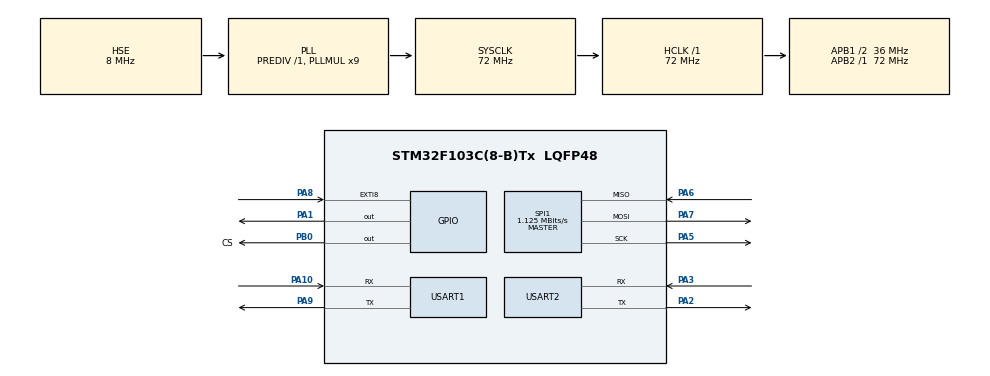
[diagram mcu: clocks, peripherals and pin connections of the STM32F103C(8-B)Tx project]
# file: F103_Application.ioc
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Dma.Request0=USART2_RX
Dma.USART2_RX.0.Direction=DMA_PERIPH_TO_MEMORY
Dma.USART2_RX.0.Instance=DMA1_Channel6
Dma.USART2_RX.0.MemDataAlignment=DMA_MDATAALIGN_BYTE
Dma.USART2_RX.0.MemInc=DMA_MINC_ENABLE
Dma.USART2_RX.0.Mode=DMA_CIRCULAR
Dma.USART2_RX.0.PeriphDataAlignment=DMA_PDATAALIGN_BYTE
Dma.USART2_RX.0.PeriphInc=DMA_PINC_DISABLE
Dma.USART2_RX.0.Priority=DMA_PRIORITY_LOW
Mcu.Family=STM32F1
Mcu.Name=STM32F103C(8-B)Tx
Mcu.Package=LQFP48
NVIC.DMA1_Channel6_IRQn=true\:0\:0\:false\:false\:true\:false\:true\:true
NVIC.EXTI9_5_IRQn=true\:0\:0\:false\:false\:true\:true\:true\:true
NVIC.PriorityGroup=NVIC_PRIORITYGROUP_4
PA1.Signal=GPIO_Output
PA10.Mode=Asynchronous
PA10.Signal=USART1_RX
PA13.Mode=Serial_Wire
PA13.Signal=SYS_JTMS-SWDIO
PA14.Mode=Serial_Wire
PA14.Signal=SYS_JTCK-SWCLK
PA2.Mode=Asynchronous
PA2.Signal=USART2_TX
PA3.Mode=Asynchronous
PA3.Signal=USART2_RX
PA5.Mode=Full_Duplex_Master
PA5.Signal=SPI1_SCK
PA6.Mode=Full_Duplex_Master
PA6.Signal=SPI1_MISO
PA7.Mode=Full_Duplex_Master
PA7.Signal=SPI1_MOSI
PA8.GPIO_ModeDefaultEXTI=GPIO_MODE_IT_FALLING
PA8.GPIO_PuPd=GPIO_PULLUP
PA8.Signal=GPXTI8
PA9.Mode=Asynchronous
PA9.Signal=USART1_TX
PB0.GPIO_Label=CS
PB0.GPIO_Speed=GPIO_SPEED_FREQ_HIGH
PB0.PinState=GPIO_PIN_SET
PB0.Signal=GPIO_Output
PD0-OSC_IN.Mode=HSE-External-Oscillator
PD0-OSC_IN.Signal=RCC_OSC_IN
PD1-OSC_OUT.Mode=HSE-External-Oscillator
PD1-OSC_OUT.Signal=RCC_OSC_OUT
ProjectManager.HeapSize=0x200
ProjectManager.StackSize=0x400
ProjectManager.TargetToolchain=STM32CubeIDE
RCC.AHBFreq_Value=72000000
RCC.APB1CLKDivider=RCC_HCLK_DIV2
RCC.APB1Freq_Value=36000000
RCC.APB1TimFreq_Value=72000000
RCC.APB2Freq_Value=72000000
RCC.APB2TimFreq_Value=72000000
RCC.HCLKFreq_Value=72000000
RCC.PLLMUL=RCC_PLL_MUL9
RCC.PLLSourceVirtual=RCC_PLLSOURCE_HSE
RCC.SYSCLKFreq_VALUE=72000000
RCC.SYSCLKSource=RCC_SYSCLKSOURCE_PLLCLK
RCC.USBFreq_Value=72000000
SPI1.BaudRatePrescaler=SPI_BAUDRATEPRESCALER_64
SPI1.CalculateBaudRate=1.125 MBits/s
SPI1.Direction=SPI_DIRECTION_2LINES
SPI1.Mode=SPI_MODE_MASTER
SPI1.VirtualType=VM_MASTER
USART1.VirtualMode=VM_ASYNC
USART2.VirtualMode=VM_ASYNC
board=custom

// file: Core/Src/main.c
/* USER CODE BEGIN Header */
/**
  ******************************************************************************
  * @file           : main.c
  * @brief          : Main program body
  ******************************************************************************
  * @attention
  *
  * Copyright (c) 2026 STMicroelectronics.
  * All rights reserved.
  *
  * This software is licensed under terms that can be found in the LICENSE file
  * in the root directory of this software component.
  * If no LICENSE file comes with this software, it is provided AS-IS.
  *
  ******************************************************************************
  */
/* USER CODE END Header */
#include "main.h"

/* USER CODE BEGIN Includes */
#include "flash_layout.h"
#include "app_header.h"
#include "ESP8266_STM32.h"
/* USER CODE END Includes */

SPI_HandleTypeDef hspi1;

UART_HandleTypeDef huart1;
UART_HandleTypeDef huart2;
DMA_HandleTypeDef hdma_usart2_rx;

void SystemClock_Config(void);
static void MX_GPIO_Init(void);
static void MX_DMA_Init(void);
static void MX_USART1_UART_Init(void);
static void MX_SPI1_Init(void);
static void MX_USART2_UART_Init(void);

/* USER CODE BEGIN 0 */

extern volatile uint8_t ota_active;
uint8_t ota_begin = 0;

void HAL_GPIO_EXTI_Callback(uint16_t GPIO_Pin)
{
	ota_begin = 1;
}

int __io_putchar (int ch)
{
	HAL_UART_Transmit(&huart1, (uint8_t *)&ch, 1, 10);
	return ch;
}

/* USER CODE END 0 */

int main(void)
{

  /* MCU Configuration--------------------------------------------------------*/

  /* Reset of all peripherals, Initializes the Flash interface and the Systick. */
  HAL_Init();

  /* USER CODE BEGIN Init */

  SCB->VTOR = APP_START_ADDR;
  __enable_irq();

  /* USER CODE END Init */

  /* Configure the system clock */
  SystemClock_Config();

  /* Initialize all configured peripherals */
  MX_GPIO_Init();
  MX_DMA_Init();
  MX_USART1_UART_Init();
  MX_SPI1_Init();
  MX_USART2_UART_Init();
  /* USER CODE BEGIN 2 */

  int version = ((app_header_t*)APP_HEADER_ADDR)->version;

  printf("Inside Application.. VERSION %d\n", version);

  /* USER CODE END 2 */

  /* Infinite loop */
  while (1)
  {

    /* USER CODE BEGIN 3 */

	  if (ota_begin == 1)
	  {
		  HAL_Delay(500);  // debounce
		  ota_begin = 0;
		  ota_start();
	  }

	  while (ota_active == 1)
	  {
		  ESP8266_OTA_Task();
		  HAL_Delay(1);
	  }

	  HAL_GPIO_TogglePin(GPIOA, GPIO_PIN_1);
	  HAL_Delay(500);
  }
  /* USER CODE END 3 */
}

void SystemClock_Config(void)
{
  RCC_OscInitTypeDef RCC_OscInitStruct = {0};
  RCC_ClkInitTypeDef RCC_ClkInitStruct = {0};

  /** Initializes the RCC Oscillators according to the specified parameters
  * in the RCC_OscInitTypeDef structure.
  */
  RCC_OscInitStruct.OscillatorType = RCC_OSCILLATORTYPE_HSE;
  RCC_OscInitStruct.HSEState = RCC_HSE_ON;
  RCC_OscInitStruct.HSEPredivValue = RCC_HSE_PREDIV_DIV1;
  RCC_OscInitStruct.HSIState = RCC_HSI_ON;
  RCC_OscInitStruct.PLL.PLLState = RCC_PLL_ON;
  RCC_OscInitStruct.PLL.PLLSource = RCC_PLLSOURCE_HSE;
  RCC_OscInitStruct.PLL.PLLMUL = RCC_PLL_MUL9;
  if (HAL_RCC_OscConfig(&RCC_OscInitStruct) != HAL_OK)
  {
    Error_Handler();
  }

  /** Initializes the CPU, AHB and APB buses clocks
  */
  RCC_ClkInitStruct.ClockType = RCC_CLOCKTYPE_HCLK|RCC_CLOCKTYPE_SYSCLK
                              |RCC_CLOCKTYPE_PCLK1|RCC_CLOCKTYPE_PCLK2;
  RCC_ClkInitStruct.SYSCLKSource = RCC_SYSCLKSOURCE_PLLCLK;
  RCC_ClkInitStruct.AHBCLKDivider = RCC_SYSCLK_DIV1;
  RCC_ClkInitStruct.APB1CLKDivider = RCC_HCLK_DIV2;
  RCC_ClkInitStruct.APB2CLKDivider = RCC_HCLK_DIV1;

  if (HAL_RCC_ClockConfig(&RCC_ClkInitStruct, FLASH_LATENCY_2) != HAL_OK)
  {
    Error_Handler();
  }
}

static void MX_SPI1_Init(void)
{

  /* SPI1 parameter configuration*/
  hspi1.Instance = SPI1;
  hspi1.Init.Mode = SPI_MODE_MASTER;
  hspi1.Init.Direction = SPI_DIRECTION_2LINES;
  hspi1.Init.DataSize = SPI_DATASIZE_8BIT;
  hspi1.Init.CLKPolarity = SPI_POLARITY_LOW;
  hspi1.Init.CLKPhase = SPI_PHASE_1EDGE;
  hspi1.Init.NSS = SPI_NSS_SOFT;
  hspi1.Init.BaudRatePrescaler = SPI_BAUDRATEPRESCALER_64;
  hspi1.Init.FirstBit = SPI_FIRSTBIT_MSB;
  hspi1.Init.TIMode = SPI_TIMODE_DISABLE;
  hspi1.Init.CRCCalculation = SPI_CRCCALCULATION_DISABLE;
  hspi1.Init.CRCPolynomial = 10;
  if (HAL_SPI_Init(&hspi1) != HAL_OK)
  {
    Error_Handler();
  }

}

static void MX_USART1_UART_Init(void)
{

  huart1.Instance = USART1;
  huart1.Init.BaudRate = 115200;
  huart1.Init.WordLength = UART_WORDLENGTH_8B;
  huart1.Init.StopBits = UART_STOPBITS_1;
  huart1.Init.Parity = UART_PARITY_NONE;
  huart1.Init.Mode = UART_MODE_TX_RX;
  huart1.Init.HwFlowCtl = UART_HWCONTROL_NONE;
  huart1.Init.OverSampling = UART_OVERSAMPLING_16;
  if (HAL_UART_Init(&huart1) != HAL_OK)
  {
    Error_Handler();
  }

}

static void MX_USART2_UART_Init(void)
{

  huart2.Instance = USART2;
  huart2.Init.BaudRate = 115200;
  huart2.Init.WordLength = UART_WORDLENGTH_8B;
  huart2.Init.StopBits = UART_STOPBITS_1;
  huart2.Init.Parity = UART_PARITY_NONE;
  huart2.Init.Mode = UART_MODE_TX_RX;
  huart2.Init.HwFlowCtl = UART_HWCONTROL_NONE;
  huart2.Init.OverSampling = UART_OVERSAMPLING_16;
  if (HAL_UART_Init(&huart2) != HAL_OK)
  {
    Error_Handler();
  }

}

static void MX_DMA_Init(void)
{

  /* DMA controller clock enable */
  __HAL_RCC_DMA1_CLK_ENABLE();

  /* DMA interrupt init */
  /* DMA1_Channel6_IRQn interrupt configuration */
  HAL_NVIC_SetPriority(DMA1_Channel6_IRQn, 0, 0);
  HAL_NVIC_EnableIRQ(DMA1_Channel6_IRQn);

}

static void MX_GPIO_Init(void)
{
  GPIO_InitTypeDef GPIO_InitStruct = {0};

  /* GPIO Ports Clock Enable */
  __HAL_RCC_GPIOD_CLK_ENABLE();
  __HAL_RCC_GPIOA_CLK_ENABLE();
  __HAL_RCC_GPIOB_CLK_ENABLE();

  /*Configure GPIO pin Output Level */
  HAL_GPIO_WritePin(GPIOA, GPIO_PIN_1, GPIO_PIN_RESET);

  /*Configure GPIO pin Output Level */
  HAL_GPIO_WritePin(CS_GPIO_Port, CS_Pin, GPIO_PIN_SET);

  /*Configure GPIO pin : PA1 */
  GPIO_InitStruct.Pin = GPIO_PIN_1;
  GPIO_InitStruct.Mode = GPIO_MODE_OUTPUT_PP;
  GPIO_InitStruct.Pull = GPIO_NOPULL;
  GPIO_InitStruct.Speed = GPIO_SPEED_FREQ_LOW;
  HAL_GPIO_Init(GPIOA, &GPIO_InitStruct);

  /*Configure GPIO pin : CS_Pin */
  GPIO_InitStruct.Pin = CS_Pin;
  GPIO_InitStruct.Mode = GPIO_MODE_OUTPUT_PP;
  GPIO_InitStruct.Pull = GPIO_NOPULL;
  GPIO_InitStruct.Speed = GPIO_SPEED_FREQ_HIGH;
  HAL_GPIO_Init(CS_GPIO_Port, &GPIO_InitStruct);

  /*Configure GPIO pin : PA8 */
  GPIO_InitStruct.Pin = GPIO_PIN_8;
  GPIO_InitStruct.Mode = GPIO_MODE_IT_FALLING;
  GPIO_InitStruct.Pull = GPIO_PULLUP;
  HAL_GPIO_Init(GPIOA, &GPIO_InitStruct);

  /* EXTI interrupt init*/
  HAL_NVIC_SetPriority(EXTI9_5_IRQn, 0, 0);
  HAL_NVIC_EnableIRQ(EXTI9_5_IRQn);

}

void Error_Handler(void)
{
  __disable_irq();
  while (1)
  {
  }
}
